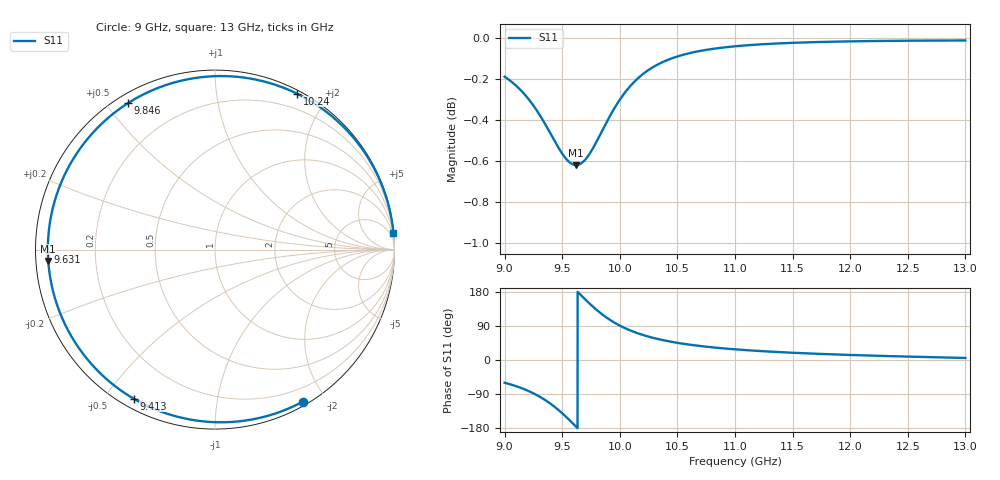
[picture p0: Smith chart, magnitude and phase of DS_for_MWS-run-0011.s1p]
! TOUCHSTONE file generated by CST DESIGN STUDIO
! Date and time: Wed Feb  5 13:31:25 2025
! Project name: C:\Work\MatlabApps\UnitCellOptimizationMatlab\CST\unitcell.cst
! Tree item: Tasks\Sweep1\SPara1\S-Parameters
! Header version: 2024
! Port assignment regex: !\s*Touchstone port\s*([0-9]+)\s*=\s*(CST MWS port|CST DES external port|CST DES block port)\s*(.+)\s* \(\"(.*)\"\)(\s*mode\s*([0-9]+))?.*
! Touchstone port assignment:
! Touchstone port 1 = CST DES external port 1 ("")
# GHz S MA R 50
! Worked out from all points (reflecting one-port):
!   4001 points, 9 GHz to 13 GHz, reference 50 ohm
!   lowest |S11| = -0.6 dB at 9.621 GHz (marker M1), VSWR 28.06, Z = 1.78 - j1.69 ohm
!   phase of S11 starts at -60 deg and turns -295 deg over the sweep
!   S11 on the Smith chart (normalised r, x): 9 GHz: 0.04, -1.73; 9.413 GHz: 0.04, -0.59; 9.631 GHz: 0.04, -0.01; 9.846 GHz: 0.03, +0.57; 10.24 GHz: 0.03, +1.65; 13 GHz: 0, +21
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9  0.9784 -59.9
9.057  0.9758 -64.9
9.131  0.9716 -72.4
9.195  0.9672 -80.2
9.257  0.9621 -89.0
9.341  0.9539 -103.5
9.413  0.9461 -118.6
9.457  0.9414 -129.2
9.5  0.9372 -140.5
9.564  0.9326 -158.8
9.621  0.9312 -176.1
9.631  0.9312 -179.2
9.676  0.9326 167.0
9.723  0.9358 153.0
9.785  0.942 135.8
9.846  0.9491 120.6
9.918  0.9575 105.2
10  0.9659 90.7
10.116  0.975 74.9
10.242  0.9818 62.3
10.362  0.9861 53.2
10.5  0.9895 45.3
10.72  0.9929 36.1
11  0.9952 28.1
11.5  0.9971 19.1
12  0.9979 13.3
12.5  0.9983 9.0
13  0.9984 5.4
